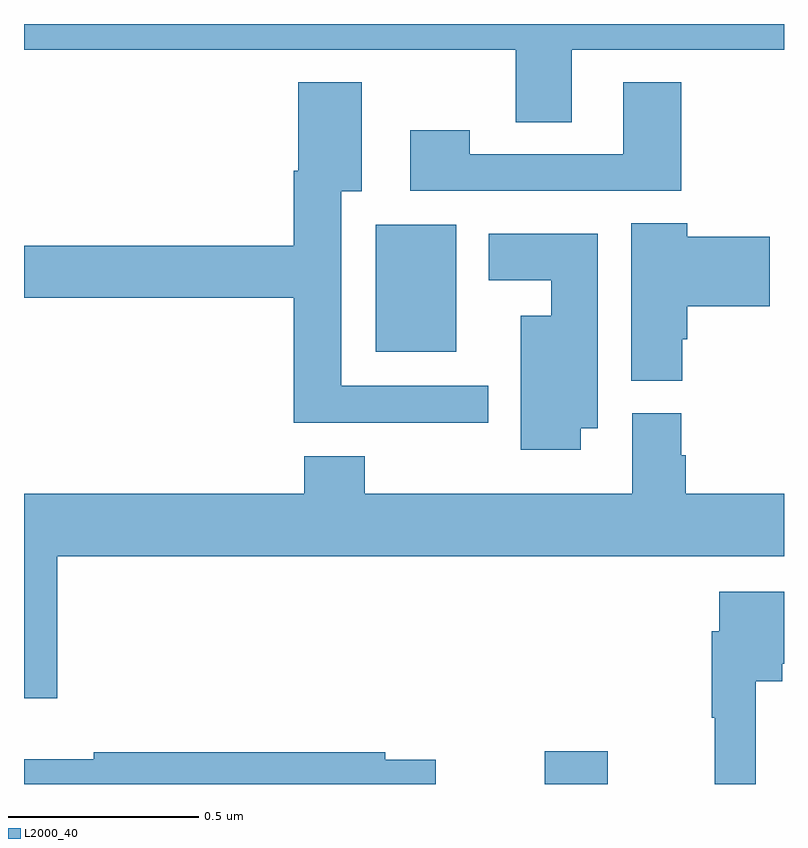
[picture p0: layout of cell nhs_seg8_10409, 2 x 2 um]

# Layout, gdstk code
import gdstk
lib = gdstk.Library(unit=1e-6, precision=1e-09)
def R(c, l, rs):  # rectangles x0, y0, x1, y1
    for r in rs: c.add(gdstk.rectangle(r[:2], r[2:], *l))
def P(c, l, *ps):  # polygons
    for p in ps: c.add(gdstk.Polygon(p, *l))
L2000_40 = (2000, 40)

nhs_seg8_10409 = lib.new_cell('nhs_seg8_10409')
R(nhs_seg8_10409, L2000_40, [(250.37,1115.9,250.536,1115.986), (249.926,1117.037,250.138,1117.372)])
P(nhs_seg8_10409, L2000_40, [(250.441,1117.832),(251,1117.832),(251,1117.9),(249,1117.9),(249,1117.832),(250.294,1117.832),(250.294,1117.642),(250.441,1117.642)],
  [(250.73,1117.747),(250.577,1117.747),(250.577,1117.557),(250.173,1117.557),(250.173,1117.621),(250.017,1117.621),(250.017,1117.461),(250.73,1117.461)],
  [(250.222,1116.948),(249.835,1116.948),(249.835,1117.46),(249.889,1117.46),(249.889,1117.747),(249.722,1117.747),(249.722,1117.514),(249.71,1117.514),(249.71,1117.316),(249,1117.316),(249,1117.18),(249.71,1117.18),(249.71,1116.851),(250.222,1116.851)],
  [(250.732,1117.07),(250.745,1117.07),(250.745,1117.157),(250.963,1117.157),(250.963,1117.34),(250.745,1117.34),(250.745,1117.376),(250.598,1117.376),(250.598,1116.961),(250.732,1116.961)],
  [(250.465,1116.836),(250.51,1116.836),(250.51,1117.348),(250.223,1117.348),(250.223,1117.226),(250.388,1117.226),(250.388,1117.132),(250.307,1117.132),(250.307,1116.78),(250.465,1116.78)],
  [(249.088,1116.5),(251,1116.5),(251,1116.664),(250.742,1116.664),(250.742,1116.765),(250.729,1116.765),(250.729,1116.876),(250.601,1116.876),(250.601,1116.664),(249.897,1116.664),(249.897,1116.763),(249.737,1116.763),(249.737,1116.664),(249,1116.664),(249,1116.126),(249.088,1116.126)],
  [(250.926,1116.17),(250.996,1116.17),(250.996,1116.216),(251,1116.216),(251,1116.406),(250.829,1116.406),(250.829,1116.302),(250.81,1116.302),(250.81,1116.074),(250.818,1116.074),(250.818,1115.9),(250.926,1115.9)],
  [(250.084,1115.964),(249.95,1115.964),(249.95,1115.984),(249.184,1115.984),(249.184,1115.965),(249,1115.965),(249,1115.9),(250.084,1115.9)])

lib.write_gds('nhs_seg8_10409.gds')
